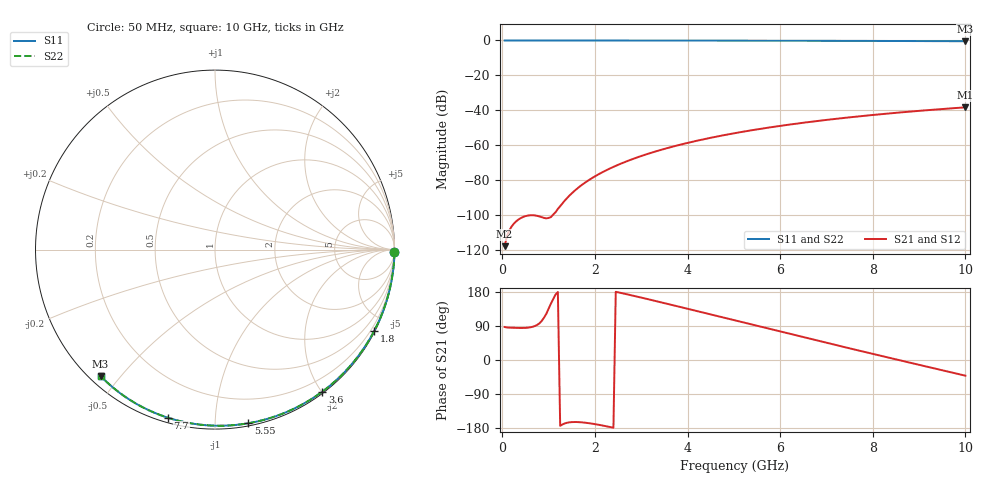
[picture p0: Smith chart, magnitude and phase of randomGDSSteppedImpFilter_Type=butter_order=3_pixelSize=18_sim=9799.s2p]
! freq	dB(S11)	phase(S11)	dB(S12)	phase(S12)
!  dB(S21)	phase(S21)	dB(S22)	phase(S22)
!S-par simulation data
#  GHz  S  DB  R 50
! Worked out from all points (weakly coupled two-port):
!   200 points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, 50 MHz to 10 GHz, reference 50 ohm
!   highest |S21| = -38.36 dB at 10 GHz (marker M1); lowest = -118.0 dB at 50 MHz (marker M2)
!   lowest |S11| = -0.4 dB at 10 GHz (marker M3), VSWR 39.03, Z = 1.53 - j22.2 ohm
!   |S11| at or under -10 dB: nowhere
!   |S22| runs from -0.4 to 0.0 dB; largest |S21 - S12| = 0
!   S11 on the Smith chart (normalised r, x): 50 MHz: open; 1.8 GHz: 0.04, -4.15; 3.6 GHz: 0.02, -2.01; 5.55 GHz: 0.02, -1.21; 7.7 GHz: 0.02, -0.76; 10 GHz: 0.03, -0.44
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0.05  -0.00 -0.8  -117.99 87.1  -117.99 87.1  -0.00 -0.8
0.9  -0.02 -13.7  -101.78 111.7  -101.78 111.7  -0.02 -13.7
1.75  -0.03 -26.4  -82.23 -164.9  -82.23 -164.9  -0.03 -26.4
1.8  -0.03 -27.1  -81.30 -165.6  -81.30 -165.6  -0.03 -27.1
1.85  -0.04 -27.8  -80.41 -166.4  -80.41 -166.4  -0.04 -27.8
1.9  -0.04 -28.6  -79.55 -167.2  -79.55 -167.2  -0.04 -28.6
2.05  -0.04 -30.8  -77.18 -170.3  -77.18 -170.3  -0.04 -30.8
2.25  -0.04 -33.7  -74.38 -174.9  -74.38 -174.9  -0.04 -33.7
2.45  -0.05 -36.6  -71.91 180.0  -71.91 180.0  -0.05 -36.6
2.65  -0.05 -39.5  -69.69 174.6  -69.69 174.6  -0.05 -39.5
3  -0.06 -44.5  -66.28 164.7  -66.28 164.7  -0.06 -44.5
3.4  -0.07 -50.2  -62.95 153.1  -62.95 153.1  -0.07 -50.2
3.6  -0.07 -53.0  -61.46 147.1  -61.46 147.1  -0.07 -53.0
4.3  -0.09 -62.6  -56.95 126.2  -56.95 126.2  -0.09 -62.6
5.05  -0.11 -72.6  -53.03 103.6  -53.03 103.6  -0.11 -72.6
5.55  -0.13 -79.1  -50.80 88.6  -50.80 88.6  -0.13 -79.1
6.1  -0.15 -86.1  -48.63 72.1  -48.63 72.1  -0.15 -86.1
6.7  -0.18 -93.6  -46.53 54.3  -46.53 54.3  -0.18 -93.6
7.7  -0.24 -105.6  -43.54 24.9  -43.54 24.9  -0.24 -105.6
8.35  -0.29 -113.3  -41.87 6.0  -41.87 6.0  -0.29 -113.3
9.15  -0.36 -122.5  -40.05 -17.0  -40.05 -17.0  -0.36 -122.5
10  -0.45 -132.1  -38.36 -41.4  -38.36 -41.4  -0.45 -132.1
